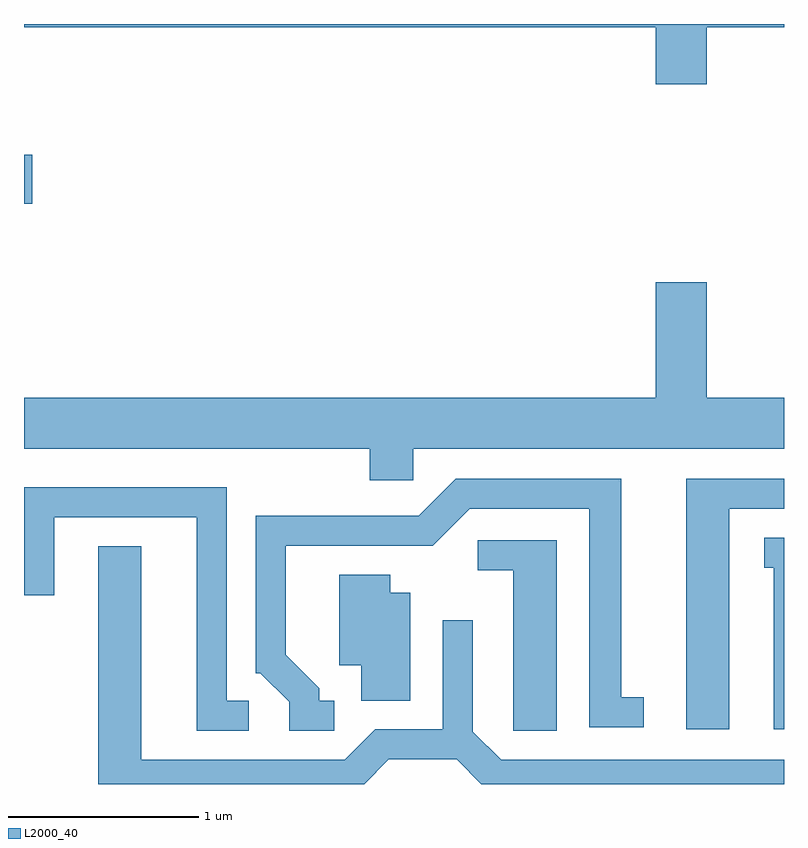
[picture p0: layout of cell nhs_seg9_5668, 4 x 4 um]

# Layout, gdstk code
import gdstk
lib = gdstk.Library(unit=1e-6, precision=1e-09)
def R(c, l, rs):  # rectangles x0, y0, x1, y1
    for r in rs: c.add(gdstk.rectangle(r[:2], r[2:], *l))
def P(c, l, *ps):  # polygons
    for p in ps: c.add(gdstk.Polygon(p, *l))
L2000_40 = (2000, 40)

nhs_seg9_5668 = lib.new_cell('nhs_seg9_5668')
R(nhs_seg9_5668, L2000_40, [(351.611,2057.486,351.654,2057.744)])
P(nhs_seg9_5668, L2000_40, [(355.204,2058.416),(355.611,2058.416),(355.611,2058.432),(351.611,2058.432),(351.611,2058.416),(354.936,2058.416),(354.936,2058.116),(355.204,2058.116)],
  [(353.659,2056.196),(355.611,2056.196),(355.611,2056.464),(355.204,2056.464),(355.204,2057.074),(354.936,2057.074),(354.936,2056.464),(351.611,2056.464),(351.611,2056.196),(353.431,2056.196),(353.431,2056.031),(353.659,2056.031)],
  [(353.243,2054.869),(353.164,2054.869),(353.164,2054.937),(352.989,2055.112),(352.989,2055.686),(353.762,2055.686),(353.957,2055.881),(354.586,2055.881),(354.586,2054.731),(354.873,2054.731),(354.873,2054.889),(354.754,2054.889),(354.754,2056.039),(353.884,2056.039),(353.689,2055.844),(352.831,2055.844),(352.831,2055.016),(352.854,2055.016),(353.006,2054.864),(353.006,2054.711),(353.243,2054.711)],
  [(355.324,2055.881),(355.611,2055.881),(355.611,2056.039),(355.096,2056.039),(355.096,2054.721),(355.324,2054.721)],
  [(352.793,2054.869),(352.679,2054.869),(352.679,2055.994),(351.611,2055.994),(351.611,2055.426),(351.769,2055.426),(351.769,2055.836),(352.521,2055.836),(352.521,2054.711),(352.793,2054.711)],
  [(355.611,2055.729),(355.508,2055.729),(355.508,2055.571),(355.556,2055.571),(355.556,2054.721),(355.611,2054.721)],
  [(354.414,2055.714),(353.998,2055.714),(353.998,2055.556),(354.186,2055.556),(354.186,2054.711),(354.414,2054.711)],
  [(353.532,2054.561),(353.889,2054.561),(354.018,2054.432),(355.611,2054.432),(355.611,2054.559),(354.122,2054.559),(353.974,2054.707),(353.974,2055.293),(353.816,2055.293),(353.816,2054.719),(353.459,2054.719),(353.299,2054.559),(352.229,2054.559),(352.229,2055.684),(352.001,2055.684),(352.001,2054.432),(353.403,2054.432)],
  [(353.644,2055.439),(353.539,2055.439),(353.539,2055.534),(353.271,2055.534),(353.271,2055.056),(353.386,2055.056),(353.386,2054.871),(353.644,2054.871)])

lib.write_gds('nhs_seg9_5668.gds')
